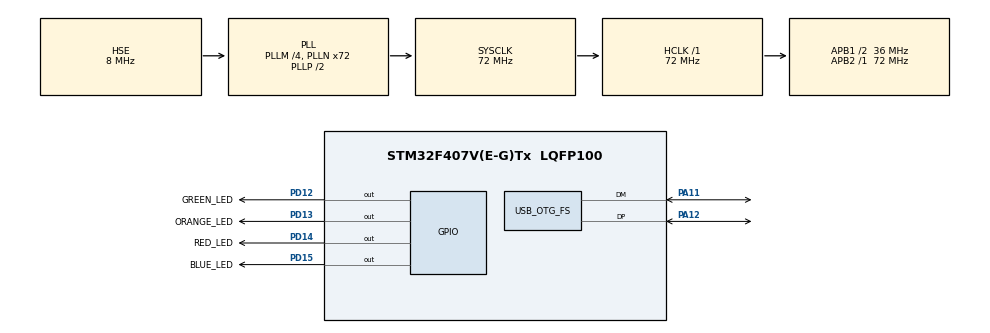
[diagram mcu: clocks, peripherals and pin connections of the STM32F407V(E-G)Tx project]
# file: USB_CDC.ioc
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Mcu.Family=STM32F4
Mcu.Name=STM32F407V(E-G)Tx
Mcu.Package=LQFP100
NVIC.OTG_FS_IRQn=true\:0\:0\:false\:false\:true\:false\:true\:true
NVIC.PriorityGroup=NVIC_PRIORITYGROUP_0
PA11.Mode=Device_Only
PA11.Signal=USB_OTG_FS_DM
PA12.Mode=Device_Only
PA12.Signal=USB_OTG_FS_DP
PD12.GPIO_Label=GREEN_LED
PD12.Signal=GPIO_Output
PD13.GPIO_Label=ORANGE_LED
PD13.Signal=GPIO_Output
PD14.GPIO_Label=RED_LED
PD14.Signal=GPIO_Output
PD15.GPIO_Label=BLUE_LED
PD15.Signal=GPIO_Output
PH0-OSC_IN.Mode=HSE-External-Oscillator
PH0-OSC_IN.Signal=RCC_OSC_IN
PH1-OSC_OUT.Mode=HSE-External-Oscillator
PH1-OSC_OUT.Signal=RCC_OSC_OUT
ProjectManager.HeapSize=0x200
ProjectManager.StackSize=0x400
ProjectManager.TargetToolchain=STM32CubeIDE
RCC.48MHZClocksFreq_Value=48000000
RCC.AHBFreq_Value=72000000
RCC.APB1CLKDivider=RCC_HCLK_DIV2
RCC.APB1Freq_Value=36000000
RCC.APB1TimFreq_Value=72000000
RCC.APB2Freq_Value=72000000
RCC.APB2TimFreq_Value=72000000
RCC.CortexFreq_Value=72000000
RCC.HCLKFreq_Value=72000000
RCC.HSE_VALUE=8000000
RCC.HSI_VALUE=16000000
RCC.LSE_VALUE=32768
RCC.PLLM=4
RCC.PLLN=72
RCC.PLLQ=3
RCC.SYSCLKFreq_VALUE=72000000
RCC.SYSCLKSource=RCC_SYSCLKSOURCE_PLLCLK
RCC.VCOOutputFreq_Value=144000000
USB_DEVICE.CLASS_NAME_FS=CDC
USB_DEVICE.VirtualMode-CDC_FS=Cdc
USB_DEVICE.VirtualModeFS=Cdc_FS
USB_OTG_FS.VirtualMode=Device_Only
VP_USB_DEVICE_VS_USB_DEVICE_CDC_FS.Mode=CDC_FS
board=STM32F407G-DISC1

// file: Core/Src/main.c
/* USER CODE BEGIN Header */
/**
  ******************************************************************************
  * @file           : main.c
  * @brief          : Main program body
  ******************************************************************************
  * @attention
  *
  * Copyright (c) 2024 STMicroelectronics.
  * All rights reserved.
  *
  * This software is licensed under terms that can be found in the LICENSE file
  * in the root directory of this software component.
  * If no LICENSE file comes with this software, it is provided AS-IS.
  *
  ******************************************************************************
  */
/* USER CODE END Header */
#include "main.h"
#include "usb_device.h"

/* USER CODE BEGIN Includes */
#include "string.h"
#include "usbd_cdc_if.h"
/* USER CODE END Includes */

/* USER CODE BEGIN PV */
uint8_t USB_RX_Buffer[20];
uint8_t USB_TX_Buffer[] = "This is Not a Valid Case For LED Glow";
/* USER CODE END PV */

void SystemClock_Config(void);
static void MX_GPIO_Init(void);
/* USER CODE BEGIN PFP */
void process_data();
/* USER CODE END PFP */

int main(void)
{

  /* MCU Configuration--------------------------------------------------------*/

  /* Reset of all peripherals, Initializes the Flash interface and the Systick. */
  HAL_Init();

  /* Configure the system clock */
  SystemClock_Config();

  /* Initialize all configured peripherals */
  MX_GPIO_Init();
  MX_USB_DEVICE_Init();

  /* Infinite loop */
  while (1)
  {

  }
}

void SystemClock_Config(void)
{
  RCC_OscInitTypeDef RCC_OscInitStruct = {0};
  RCC_ClkInitTypeDef RCC_ClkInitStruct = {0};

  /** Configure the main internal regulator output voltage
  */
  __HAL_RCC_PWR_CLK_ENABLE();
  __HAL_PWR_VOLTAGESCALING_CONFIG(PWR_REGULATOR_VOLTAGE_SCALE1);

  /** Initializes the RCC Oscillators according to the specified parameters
  * in the RCC_OscInitTypeDef structure.
  */
  RCC_OscInitStruct.OscillatorType = RCC_OSCILLATORTYPE_HSE;
  RCC_OscInitStruct.HSEState = RCC_HSE_ON;
  RCC_OscInitStruct.PLL.PLLState = RCC_PLL_ON;
  RCC_OscInitStruct.PLL.PLLSource = RCC_PLLSOURCE_HSE;
  RCC_OscInitStruct.PLL.PLLM = 4;
  RCC_OscInitStruct.PLL.PLLN = 72;
  RCC_OscInitStruct.PLL.PLLP = RCC_PLLP_DIV2;
  RCC_OscInitStruct.PLL.PLLQ = 3;
  if (HAL_RCC_OscConfig(&RCC_OscInitStruct) != HAL_OK)
  {
    Error_Handler();
  }

  /** Initializes the CPU, AHB and APB buses clocks
  */
  RCC_ClkInitStruct.ClockType = RCC_CLOCKTYPE_HCLK|RCC_CLOCKTYPE_SYSCLK
                              |RCC_CLOCKTYPE_PCLK1|RCC_CLOCKTYPE_PCLK2;
  RCC_ClkInitStruct.SYSCLKSource = RCC_SYSCLKSOURCE_PLLCLK;
  RCC_ClkInitStruct.AHBCLKDivider = RCC_SYSCLK_DIV1;
  RCC_ClkInitStruct.APB1CLKDivider = RCC_HCLK_DIV2;
  RCC_ClkInitStruct.APB2CLKDivider = RCC_HCLK_DIV1;

  if (HAL_RCC_ClockConfig(&RCC_ClkInitStruct, FLASH_LATENCY_2) != HAL_OK)
  {
    Error_Handler();
  }
}

static void MX_GPIO_Init(void)
{
  GPIO_InitTypeDef GPIO_InitStruct = {0};

  /* GPIO Ports Clock Enable */
  __HAL_RCC_GPIOH_CLK_ENABLE();
  __HAL_RCC_GPIOD_CLK_ENABLE();
  __HAL_RCC_GPIOA_CLK_ENABLE();

  /*Configure GPIO pin Output Level */
  HAL_GPIO_WritePin(GPIOD, GREEN_LED_Pin|ORANGE_LED_Pin|RED_LED_Pin|BLUE_LED_Pin, GPIO_PIN_RESET);

  /*Configure GPIO pins : GREEN_LED_Pin ORANGE_LED_Pin RED_LED_Pin BLUE_LED_Pin */
  GPIO_InitStruct.Pin = GREEN_LED_Pin|ORANGE_LED_Pin|RED_LED_Pin|BLUE_LED_Pin;
  GPIO_InitStruct.Mode = GPIO_MODE_OUTPUT_PP;
  GPIO_InitStruct.Pull = GPIO_NOPULL;
  GPIO_InitStruct.Speed = GPIO_SPEED_FREQ_LOW;
  HAL_GPIO_Init(GPIOD, &GPIO_InitStruct);

}

/* USER CODE BEGIN 4 */
void usb_rx_handler(uint8_t *Buf, uint32_t Len) {
	memcpy(USB_RX_Buffer, Buf, Len);
	process_data();
}
void process_data() {
	if(USB_RX_Buffer[0] == 0x01){
		HAL_GPIO_WritePin(GREEN_LED_GPIO_Port, GREEN_LED_Pin, GPIO_PIN_SET);
	}
	else if (USB_RX_Buffer[1] == 0x02){
		HAL_GPIO_WritePin(BLUE_LED_GPIO_Port, BLUE_LED_Pin, GPIO_PIN_SET);
	}
	else if (USB_RX_Buffer[2] == 0x03){
		HAL_GPIO_WritePin(ORANGE_LED_GPIO_Port, ORANGE_LED_Pin, GPIO_PIN_SET);
	}
	else if (USB_RX_Buffer[3] == 0x04){
		HAL_GPIO_WritePin(RED_LED_GPIO_Port, RED_LED_Pin, GPIO_PIN_SET);
	}
	else{
		CDC_Transmit_FS(USB_TX_Buffer, 37);
	}
}

/* USER CODE END 4 */

void Error_Handler(void)
{
  __disable_irq();
  while (1)
  {
  }
}
